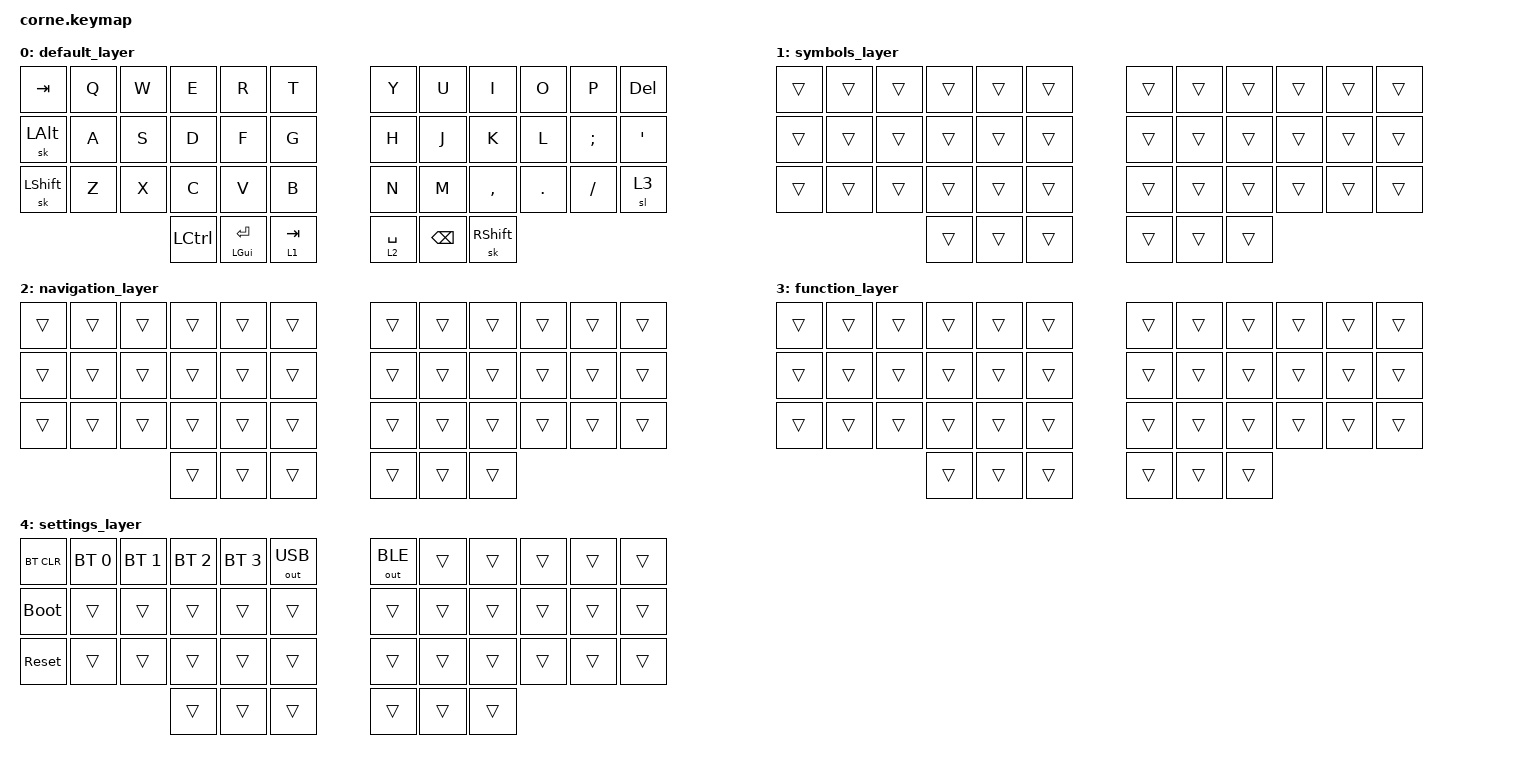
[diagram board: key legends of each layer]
#include <behaviors.dtsi>
#include <dt-bindings/zmk/keys.h>
#include <dt-bindings/zmk/bt.h>
#include <dt-bindings/zmk/outputs.h>

/ {
  keymap {
    compatible = "zmk,keymap";

    default_layer {
      bindings = <
        &kp TAB    &kp Q &kp W &kp E &kp R &kp T    &kp Y &kp U &kp I &kp O &kp P &kp DEL
        &sk LALT   &kp A &kp S &kp D &kp F &kp G    &kp H &kp J &kp K &kp L &kp SEMI &kp SQT
        &sk LSHFT  &kp Z &kp X &kp C &kp V &kp B    &kp N &kp M &kp COMMA &kp DOT &kp FSLH &sl 3
                            &kp LCTRL &mt LGUI RET &lt 1 TAB    &lt 2 SPACE &kp BSPC &sk RSHFT
      >;
    };

    symbols_layer {
      bindings = <
        &trans &trans &trans &trans &trans &trans    &trans &trans &trans &trans &trans &trans
        &trans &trans &trans &trans &trans &trans    &trans &trans &trans &trans &trans &trans
        &trans &trans &trans &trans &trans &trans    &trans &trans &trans &trans &trans &trans
                            &trans &trans &trans    &trans &trans &trans
      >;
    };

    navigation_layer {
      bindings = <
        &trans &trans &trans &trans &trans &trans    &trans &trans &trans &trans &trans &trans
        &trans &trans &trans &trans &trans &trans    &trans &trans &trans &trans &trans &trans
        &trans &trans &trans &trans &trans &trans    &trans &trans &trans &trans &trans &trans
                            &trans &trans &trans    &trans &trans &trans
      >;
    };

    function_layer {
      bindings = <
        &trans &trans &trans &trans &trans &trans    &trans &trans &trans &trans &trans &trans
        &trans &trans &trans &trans &trans &trans    &trans &trans &trans &trans &trans &trans
        &trans &trans &trans &trans &trans &trans    &trans &trans &trans &trans &trans &trans
                            &trans &trans &trans    &trans &trans &trans
      >;
    };

    settings_layer {
      bindings = <
        &bt BT_CLR    &bt BT_SEL 0 &bt BT_SEL 1 &bt BT_SEL 2 &bt BT_SEL 3 &out OUT_USB    &out OUT_BLE &trans &trans &trans &trans &trans
        &bootloader   &trans       &trans       &trans       &trans       &trans    &trans &trans &trans &trans &trans &trans
        &sys_reset    &trans       &trans       &trans       &trans       &trans    &trans &trans &trans &trans &trans &trans
                                          &trans &trans &trans    &trans &trans &trans
      >;
    };
  };
};
